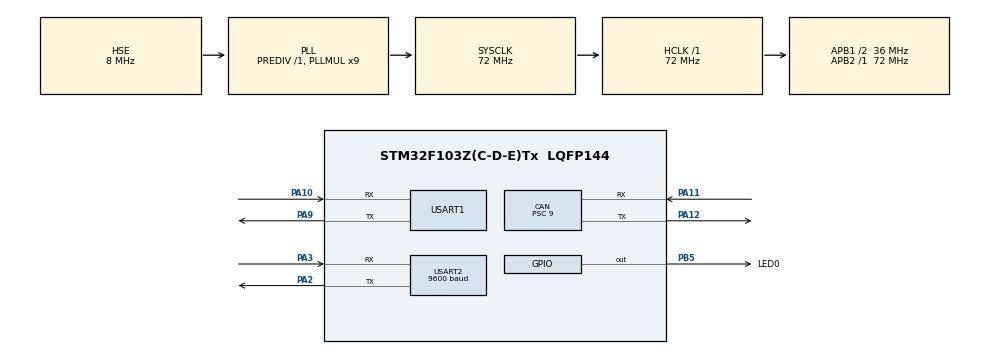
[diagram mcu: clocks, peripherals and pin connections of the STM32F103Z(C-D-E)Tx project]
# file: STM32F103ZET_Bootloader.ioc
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CAN.ABOM=ENABLE
CAN.BS1=CAN_BS1_6TQ
CAN.CalculateBaudRate=500000
CAN.CalculateTimeBit=2000
CAN.CalculateTimeQuantum=250.0
CAN.NART=ENABLE
CAN.Prescaler=9
CAN.TTCM=DISABLE
FREERTOS.Tasks01=defaultTask,0,128,StartDefaultTask,Default,NULL,Dynamic,NULL,NULL;BSW_10ms_Task,-3,512,Start_BSW_10ms_Task,Default,NULL,Dynamic,NULL,NULL
FREERTOS.configTOTAL_HEAP_SIZE=10240
Mcu.Family=STM32F1
Mcu.Name=STM32F103Z(C-D-E)Tx
Mcu.Package=LQFP144
NVIC.CAN1_RX1_IRQn=true\:5\:0\:false\:false\:true\:true\:true\:true\:true
NVIC.CAN1_SCE_IRQn=true\:5\:0\:false\:false\:true\:true\:true\:true\:true
NVIC.PriorityGroup=NVIC_PRIORITYGROUP_4
NVIC.TIM2_IRQn=true\:15\:0\:false\:false\:true\:false\:false\:true\:true
NVIC.TimeBase=TIM2_IRQn
NVIC.TimeBaseIP=TIM2
NVIC.USART1_IRQn=true\:5\:0\:false\:false\:true\:true\:true\:true\:true
NVIC.USB_HP_CAN1_TX_IRQn=true\:5\:0\:false\:false\:true\:true\:true\:true\:true
NVIC.USB_LP_CAN1_RX0_IRQn=true\:5\:0\:false\:false\:true\:true\:true\:true\:true
OSC_IN.Mode=HSE-External-Oscillator
OSC_IN.Signal=RCC_OSC_IN
OSC_OUT.Mode=HSE-External-Oscillator
OSC_OUT.Signal=RCC_OSC_OUT
PA10.Mode=Asynchronous
PA10.Signal=USART1_RX
PA11.Mode=CAN_Activate
PA11.Signal=CAN_RX
PA12.Mode=CAN_Activate
PA12.Signal=CAN_TX
PA13.Mode=Serial_Wire
PA13.Signal=SYS_JTMS-SWDIO
PA14.Mode=Serial_Wire
PA14.Signal=SYS_JTCK-SWCLK
PA2.Mode=LIN
PA2.Signal=USART2_TX
PA3.Mode=LIN
PA3.Signal=USART2_RX
PA9.Mode=Asynchronous
PA9.Signal=USART1_TX
PB5.GPIO_Label=LED0
PB5.GPIO_Speed=GPIO_SPEED_FREQ_HIGH
PB5.Signal=GPIO_Output
ProjectManager.HeapSize=0x200
ProjectManager.StackSize=0x400
ProjectManager.TargetToolchain=MDK-ARM V5.32
RCC.AHBFreq_Value=72000000
RCC.APB1CLKDivider=RCC_HCLK_DIV2
RCC.APB1Freq_Value=36000000
RCC.APB1TimFreq_Value=72000000
RCC.APB2Freq_Value=72000000
RCC.APB2TimFreq_Value=72000000
RCC.HCLKFreq_Value=72000000
RCC.PLLMUL=RCC_PLL_MUL9
RCC.PLLSourceVirtual=RCC_PLLSOURCE_HSE
RCC.SYSCLKFreq_VALUE=72000000
RCC.SYSCLKSource=RCC_SYSCLKSOURCE_PLLCLK
RCC.USBFreq_Value=72000000
USART1.VirtualMode=VM_ASYNC
USART2.BaudRate=9600
USART2.VirtualMode=VM_ASYNC
VP_FREERTOS_VS_CMSIS_V1.Mode=CMSIS_V1
VP_SYS_VS_tim2.Mode=TIM2
VP_TIM1_VS_ClockSourceINT.Mode=Internal
board=custom

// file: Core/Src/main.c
/* USER CODE BEGIN Header */
/**
  ******************************************************************************
  * @file           : main.c
  * @brief          : Main program body
  ******************************************************************************
  * @attention
  *
  * Copyright (c) 2026 STMicroelectronics.
  * All rights reserved.
  *
  * This software is licensed under terms that can be found in the LICENSE file
  * in the root directory of this software component.
  * If no LICENSE file comes with this software, it is provided AS-IS.
  *
  ******************************************************************************
  */
/* USER CODE END Header */
#include "main.h"
#include "cmsis_os.h"
#include "can.h"
#include "tim.h"
#include "usart.h"
#include "gpio.h"

/* USER CODE BEGIN Includes */
#include "isotp_port.h"
/* USER CODE END Includes */

void SystemClock_Config(void);
void MX_FREERTOS_Init(void);

int main(void)
{

  /* MCU Configuration--------------------------------------------------------*/

  /* Reset of all peripherals, Initializes the Flash interface and the Systick. */
  HAL_Init();

  /* Configure the system clock */
  SystemClock_Config();

  /* Initialize all configured peripherals */
  MX_GPIO_Init();
  MX_TIM1_Init();
  MX_CAN_Init();
  MX_USART1_UART_Init();
  MX_USART2_UART_Init();
  /* USER CODE BEGIN 2 */
    /* ISO-TP + CAN 接收通路初始化：配置过滤器、启动 CAN、开接收中断。
       必须在调度器启动之前调用(此时 CAN 尚未进入中断模式)。
       它内部已包含 HAL_CAN_Start()，不要再单独调用，否则会因
       hcan->State 已是 LISTENING 而返回 HAL_ERROR。
       失败落进 Error_Handler()，便于用调试器判断卡在哪一步。 */
    if (IsotpPort_Init() != 0)
    {
      Error_Handler();
    }
  /* USER CODE END 2 */

  /* Call init function for freertos objects (in cmsis_os2.c) */
  MX_FREERTOS_Init();

  /* Start scheduler */
  osKernelStart();

  /* We should never get here as control is now taken by the scheduler */

  /* Infinite loop */
  while (1)
  {

  }
}

void SystemClock_Config(void)
{
  RCC_OscInitTypeDef RCC_OscInitStruct = {0};
  RCC_ClkInitTypeDef RCC_ClkInitStruct = {0};

  /** Initializes the RCC Oscillators according to the specified parameters
  * in the RCC_OscInitTypeDef structure.
  */
  RCC_OscInitStruct.OscillatorType = RCC_OSCILLATORTYPE_HSE;
  RCC_OscInitStruct.HSEState = RCC_HSE_ON;
  RCC_OscInitStruct.HSEPredivValue = RCC_HSE_PREDIV_DIV1;
  RCC_OscInitStruct.HSIState = RCC_HSI_ON;
  RCC_OscInitStruct.PLL.PLLState = RCC_PLL_ON;
  RCC_OscInitStruct.PLL.PLLSource = RCC_PLLSOURCE_HSE;
  RCC_OscInitStruct.PLL.PLLMUL = RCC_PLL_MUL9;
  if (HAL_RCC_OscConfig(&RCC_OscInitStruct) != HAL_OK)
  {
    Error_Handler();
  }

  /** Initializes the CPU, AHB and APB buses clocks
  */
  RCC_ClkInitStruct.ClockType = RCC_CLOCKTYPE_HCLK|RCC_CLOCKTYPE_SYSCLK
                              |RCC_CLOCKTYPE_PCLK1|RCC_CLOCKTYPE_PCLK2;
  RCC_ClkInitStruct.SYSCLKSource = RCC_SYSCLKSOURCE_PLLCLK;
  RCC_ClkInitStruct.AHBCLKDivider = RCC_SYSCLK_DIV1;
  RCC_ClkInitStruct.APB1CLKDivider = RCC_HCLK_DIV2;
  RCC_ClkInitStruct.APB2CLKDivider = RCC_HCLK_DIV1;

  if (HAL_RCC_ClockConfig(&RCC_ClkInitStruct, FLASH_LATENCY_2) != HAL_OK)
  {
    Error_Handler();
  }
}

void HAL_TIM_PeriodElapsedCallback(TIM_HandleTypeDef *htim)
{
  if (htim->Instance == TIM2)
  {
    HAL_IncTick();
  }
}

void Error_Handler(void)
{
  __disable_irq();
  while (1)
  {
  }
}

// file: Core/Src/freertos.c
/* USER CODE BEGIN Header */
/**
  ******************************************************************************
  * File Name          : freertos.c
  * Description        : Code for freertos applications
  ******************************************************************************
  * @attention
  *
  * Copyright (c) 2026 STMicroelectronics.
  * All rights reserved.
  *
  * This software is licensed under terms that can be found in the LICENSE file
  * in the root directory of this software component.
  * If no LICENSE file comes with this software, it is provided AS-IS.
  *
  ******************************************************************************
  */
/* USER CODE END Header */

#include "FreeRTOS.h"
#include "task.h"
#include "main.h"
#include "cmsis_os.h"

/* USER CODE BEGIN Includes */
#include "usart.h"
#include "uart_user.h"
#include "isotp.h"
#include "isotp_defines.h"
#include "isotp_user.h"
#include "isotp_port.h"
#include "Updater.h"
#include "LinMaster.h"
/* USER CODE END Includes */

/* USER CODE BEGIN PD */
#define UART_Transmit_Cycle_MAX 1000
/* USER CODE END PD */

/* USER CODE BEGIN Variables */
  /* ISO-TP 报文的大数组和接收回调已经挪到 ASW 层：
     Software/ASW/Updater/src/Updater.c  */

  uint16_t UART_Transmit_Cycle = 0;
  uint8_t UART_ARRY[8] = {0xAA,0xAA,0xAA,0xAA,0xAA,0xAA,0xAA,0xAA};
  uint8_t LIN_Timer = 0;
/* USER CODE END Variables */
osThreadId defaultTaskHandle;
osThreadId BSW_10ms_TaskHandle;

void StartDefaultTask(void const * argument);
void Start_BSW_10ms_Task(void const * argument);

void MX_FREERTOS_Init(void); /* (MISRA C 2004 rule 8.1) */

/* GetIdleTaskMemory prototype (linked to static allocation support) */
void vApplicationGetIdleTaskMemory( StaticTask_t **ppxIdleTaskTCBBuffer, StackType_t **ppxIdleTaskStackBuffer, uint32_t *pulIdleTaskStackSize );

/* USER CODE BEGIN GET_IDLE_TASK_MEMORY */
static StaticTask_t xIdleTaskTCBBuffer;
static StackType_t xIdleStack[configMINIMAL_STACK_SIZE];

void vApplicationGetIdleTaskMemory( StaticTask_t **ppxIdleTaskTCBBuffer, StackType_t **ppxIdleTaskStackBuffer, uint32_t *pulIdleTaskStackSize )
{
  *ppxIdleTaskTCBBuffer = &xIdleTaskTCBBuffer;
  *ppxIdleTaskStackBuffer = &xIdleStack[0];
  *pulIdleTaskStackSize = configMINIMAL_STACK_SIZE;
  /* place for user code */
}
/* USER CODE END GET_IDLE_TASK_MEMORY */

void MX_FREERTOS_Init(void) {

  /* Create the thread(s) */
  /* definition and creation of defaultTask */
  osThreadDef(defaultTask, StartDefaultTask, osPriorityNormal, 0, 128);
  defaultTaskHandle = osThreadCreate(osThread(defaultTask), NULL);

  /* definition and creation of BSW_10ms_Task */
  osThreadDef(BSW_10ms_Task, Start_BSW_10ms_Task, osPriorityIdle, 0, 512);
  BSW_10ms_TaskHandle = osThreadCreate(osThread(BSW_10ms_Task), NULL);

}

void StartDefaultTask(void const * argument)
{
  for(;;)
  {
    osDelay(1);
  }
}

void Start_BSW_10ms_Task(void const * argument)
{
  /* USER CODE BEGIN Start_BSW_10ms_Task */
  UART_Printf_Init();

  /* 注册 Updater 的接收回调：之后整条报文会在中断里直接拷进 Updater 的大数组 */
  Updater_Init();

  /* Infinite loop */
  for(;;)
  {
    osDelay(1);

    /* ISO-TP 的 Cr(等待流控帧)超时定时器必须由任务周期性驱动，
       否则对端发来首帧后收不到流控帧，会一直等到超时才丢弃。 */
    IsotpPort_Poll();

    /* 把 ISO-TP 库在中断里攒下的诊断信息真正发出去 */
    IsotpUser_DebugPump();

    /* 驱动 Updater：取走新到的完整报文并交给 Updater_OnFrame() 处理 */
    Updater_Poll();

    /* 固件接收完成(RequestTransferExit 校验通过后置位)：
       把 RAM 里攒下的 CAN_RX_BUF 整个写入内部 Flash 的 APP 区。
       写完后该函数会复位 MCU，由 bootloader 重新校验并跳转。 */
    if(Updater_IsFirmwareReady() == 1U)
    {
      (void)Updater_FlushFirmware();
    }

    if(UART_Transmit_Cycle < UART_Transmit_Cycle_MAX)
    {
      UART_Transmit_Cycle++;
    }
    else
    {
      UART_Transmit_Cycle = 0;

      /* LED0 反转：与发送同步，指示本任务存活 */
      HAL_GPIO_TogglePin(LED0_GPIO_Port, LED0_Pin);
      LIN_Message_Send();
      printf("\r\nSTM32 HeartBeat\r\n");

      /* 走 ISO-TP 发送(而不是裸 HAL_CAN_AddTxMessage)，
         报文超过 8 字节时由库自动拆成 FF + CF 多帧。 */
      // IsotpPort_Send(UART_ARRY, sizeof(UART_ARRY));
    }
  }
  /* USER CODE END Start_BSW_10ms_Task */
}
